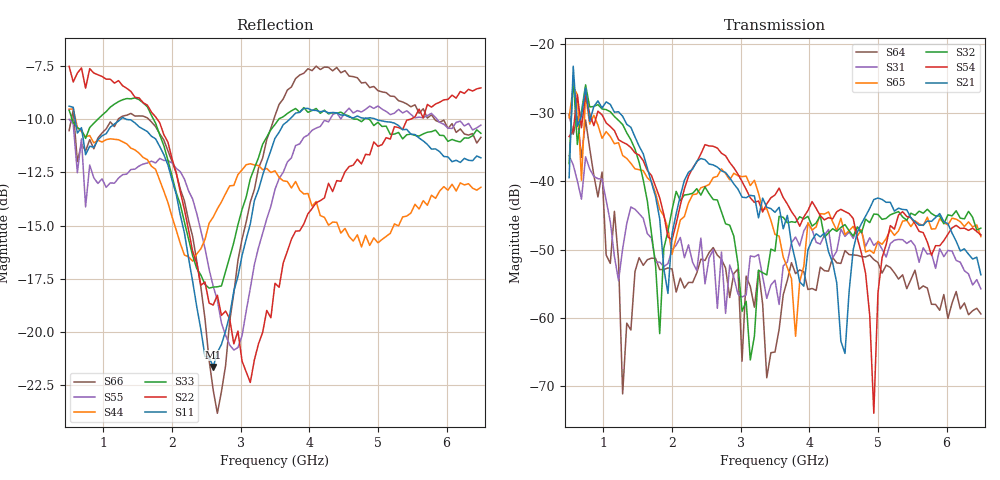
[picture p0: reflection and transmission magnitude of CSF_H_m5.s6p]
!Keysight Technologies,M9804A,MY58100912,A.14.10.03
!Date: Thursday, April 27, 2023 10:28:33
!Correction: S11(C  6-Port  )
!S12(C  6-Port  )
!S13(C  6-Port  )
!S14(C  6-Port  )
!S15(C  6-Port  )
!S16(C  6-Port  )
!S21(C  6-Port  )
!S22(C  6-Port  )
!S23(C  6-Port  )
!S24(C  6-Port  )
!S25(C  6-Port  )
!S26(C  6-Port  )
!S31(C  6-Port  )
!S32(C  6-Port  )
!S33(C  6-Port  )
!S34(C  6-Port  )
!S35(C  6-Port  )
!S36(C  6-Port  )
!S41(C  6-Port  )
!S42(C  6-Port  )
!S43(C  6-Port  )
!S44(C  6-Port  )
!S45(C  6-Port  )
!S46(C  6-Port  )
!S51(C  6-Port  )
!S52(C  6-Port  )
!S53(C  6-Port  )
!S54(C  6-Port  )
!S55(C  6-Port  )
!S56(C  6-Port  )
!S61(C  6-Port  )
!S62(C  6-Port  )
!S63(C  6-Port  )
!S64(C  6-Port  )
!S65(C  6-Port  )
!S66(C  6-Port  )
!S6P File: Measurement: :
# Hz S  RI  R 50
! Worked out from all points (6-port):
!   101 points, 500 MHz to 6.5 GHz, reference 50 ohm
!   strongest paths, dB at 500 MHz, 2 GHz, 3.5 GHz, 5 GHz, 6.5 GHz:
!     S21: -39.5, -47.7, -44.6, -42.5, -53.7
!     S54: -33.5, -48.6, -42.0, -56.4, -47.9
!     S32: -37.4, -44.2, -50.2, -44.9, -46.9
!     S65: -30.7, -50.7, -47.8, -48.8, -48.1
!     S31: -36.3, -50.0, -54.5, -48.9, -55.8
!     S64: -30.2, -52.8, -65.0, -51.9, -59.4
!   lowest |S11| = -21.7 dB at 2.6 GHz (marker M1), VSWR 1.18, Z = 42.6 + j2 ohm
!   |S11| at or under -10 dB: 588 MHz to 1.25 GHz (661.6 MHz wide, 72 % of centre); 1.334 GHz to 3.712 GHz (2.378 GHz wide, 94.2 % of centre); 4.971 GHz to end of sweep
